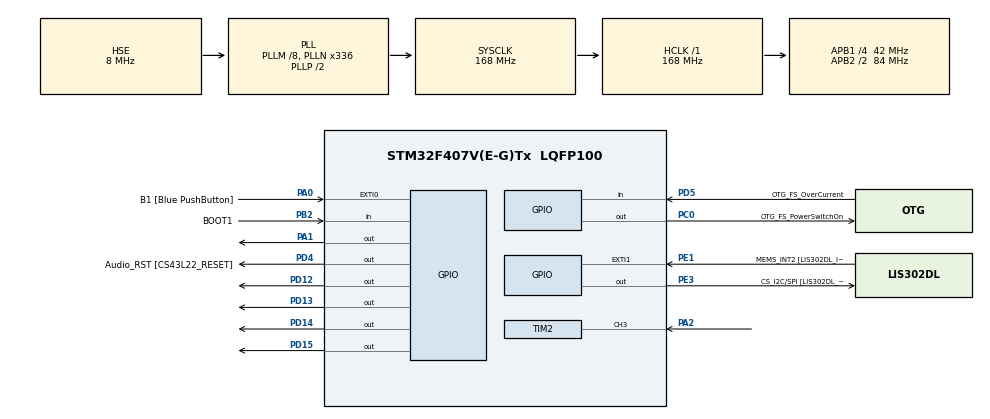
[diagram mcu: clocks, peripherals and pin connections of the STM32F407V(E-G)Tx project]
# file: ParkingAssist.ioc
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Mcu.Family=STM32F4
Mcu.Name=STM32F407V(E-G)Tx
Mcu.Package=LQFP100
NVIC.PriorityGroup=NVIC_PRIORITYGROUP_0
NVIC.TIM2_IRQn=true\:0\:0\:false\:false\:true\:true\:true\:true
PA0-WKUP.GPIO_Label=B1 [Blue PushButton]
PA0-WKUP.Signal=GPXTI0
PA1.Signal=GPIO_Output
PA10.GPIO_Label=OTG_FS_ID
PA10.GPIO_Mode=GPIO_MODE_AF_PP
PA10.GPIO_PuPd=GPIO_NOPULL
PA10.GPIO_Speed=GPIO_SPEED_FREQ_LOW
PA10.Signal=USB_OTG_FS_ID
PA11.GPIO_Label=OTG_FS_DM
PA11.GPIO_Mode=GPIO_MODE_AF_PP
PA11.GPIO_PuPd=GPIO_NOPULL
PA11.GPIO_Speed=GPIO_SPEED_FREQ_LOW
PA11.Signal=USB_OTG_FS_DM
PA12.GPIO_Label=OTG_FS_DP
PA12.GPIO_Mode=GPIO_MODE_AF_PP
PA12.GPIO_PuPd=GPIO_NOPULL
PA12.GPIO_Speed=GPIO_SPEED_FREQ_LOW
PA12.Signal=USB_OTG_FS_DP
PA13.GPIO_Label=SWDIO
PA13.Signal=SYS_JTMS-SWDIO
PA14.GPIO_Label=SWCLK
PA14.Signal=SYS_JTCK-SWCLK
PA2.Signal=S_TIM2_CH3
PA4.GPIO_Label=I2S3_WS [CS43L22_LRCK]
PA4.GPIO_Mode=GPIO_MODE_AF_PP
PA4.GPIO_PuPd=GPIO_NOPULL
PA4.GPIO_Speed=GPIO_SPEED_FREQ_LOW
PA4.Signal=I2S3_WS
PA5.GPIO_Label=SPI1_SCK [LIS302DL_SCL/SPC]
PA5.GPIO_Mode=GPIO_MODE_AF_PP
PA5.GPIO_PuPd=GPIO_NOPULL
PA5.GPIO_Speed=GPIO_SPEED_FREQ_LOW
PA5.Signal=SPI1_SCK
PA6.GPIO_Label=SPI1_MISO [LIS302DL_SDO]
PA6.GPIO_Mode=GPIO_MODE_AF_PP
PA6.GPIO_PuPd=GPIO_NOPULL
PA6.GPIO_Speed=GPIO_SPEED_FREQ_LOW
PA6.Signal=SPI1_MISO
PA7.GPIO_Label=SPI1_MOSI [LIS302DL_SDA/SDI/SDO]
PA7.GPIO_Mode=GPIO_MODE_AF_PP
PA7.GPIO_PuPd=GPIO_NOPULL
PA7.GPIO_Speed=GPIO_SPEED_FREQ_LOW
PA7.Signal=SPI1_MOSI
PA9.GPIO_Label=VBUS_FS
PA9.GPIO_Mode=GPIO_MODE_INPUT
PA9.GPIO_PuPd=GPIO_NOPULL
PA9.Signal=USB_OTG_FS_VBUS
PB10.GPIO_Label=CLK_IN [MP45DT02_CLK]
PB10.GPIO_Mode=GPIO_MODE_AF_PP
PB10.GPIO_PuPd=GPIO_NOPULL
PB10.GPIO_Speed=GPIO_SPEED_FREQ_LOW
PB10.Signal=I2S2_CK
PB2.GPIO_Label=BOOT1
PB2.GPIO_Mode=GPIO_MODE_INPUT
PB2.GPIO_PuPd=GPIO_NOPULL
PB2.Signal=GPIO_Input
PB3.Signal=SYS_JTDO-SWO
PB6.GPIO_Label=Audio_SCL [CS43L22_SCL]
PB6.GPIO_Mode=GPIO_MODE_AF_OD
PB6.GPIO_PuPd=GPIO_NOPULL
PB6.GPIO_Speed=GPIO_SPEED_FREQ_LOW
PB6.Signal=I2C1_SCL
PB9.GPIO_Label=Audio_SDA [CS43L22_SDA]
PB9.GPIO_Mode=GPIO_MODE_AF_OD
PB9.GPIO_PuPd=GPIO_NOPULL
PB9.GPIO_Speed=GPIO_SPEED_FREQ_LOW
PB9.Signal=I2C1_SDA
PC0.GPIO_Label=OTG_FS_PowerSwitchOn
PC0.GPIO_PuPd=GPIO_NOPULL
PC0.GPIO_Speed=GPIO_SPEED_FREQ_LOW
PC0.PinState=GPIO_PIN_SET
PC0.Signal=GPIO_Output
PC10.GPIO_Label=I2S3_SCK [CS43L22_SCLK]
PC10.GPIO_Mode=GPIO_MODE_AF_PP
PC10.GPIO_PuPd=GPIO_NOPULL
PC10.GPIO_Speed=GPIO_SPEED_FREQ_LOW
PC10.Signal=I2S3_CK
PC12.GPIO_Label=I2S3_SD [CS43L22_SDIN]
PC12.GPIO_Mode=GPIO_MODE_AF_PP
PC12.GPIO_PuPd=GPIO_NOPULL
PC12.GPIO_Speed=GPIO_SPEED_FREQ_LOW
PC12.Signal=I2S3_SD
PC14-OSC32_IN.GPIO_Label=PC14-OSC32_IN
PC14-OSC32_IN.Signal=RCC_OSC32_IN
PC15-OSC32_OUT.GPIO_Label=PC15-OSC32_OUT
PC15-OSC32_OUT.Signal=RCC_OSC32_OUT
PC3.GPIO_Label=PDM_OUT [MP45DT02_DOUT]
PC3.GPIO_Mode=GPIO_MODE_AF_PP
PC3.GPIO_PuPd=GPIO_NOPULL
PC3.GPIO_Speed=GPIO_SPEED_FREQ_LOW
PC3.Signal=I2S2_SD
PC7.GPIO_Label=I2S3_MCK [CS43L22_MCLK]
PC7.GPIO_Mode=GPIO_MODE_AF_PP
PC7.GPIO_PuPd=GPIO_NOPULL
PC7.GPIO_Speed=GPIO_SPEED_FREQ_LOW
PC7.Signal=I2S3_MCK
PD12.Signal=GPIO_Output
PD13.Signal=GPIO_Output
PD14.Signal=GPIO_Output
PD15.Signal=GPIO_Output
PD4.GPIO_Label=Audio_RST [CS43L22_RESET]
PD4.GPIO_PuPd=GPIO_NOPULL
PD4.GPIO_Speed=GPIO_SPEED_FREQ_LOW
PD4.Signal=GPIO_Output
PD5.GPIO_Label=OTG_FS_OverCurrent
PD5.GPIO_Mode=GPIO_MODE_INPUT
PD5.GPIO_PuPd=GPIO_NOPULL
PD5.Signal=GPIO_Input
PE1.GPIO_Label=MEMS_INT2 [LIS302DL_INT2]
PE1.GPIO_ModeDefaultEXTI=GPIO_MODE_EVT_RISING
PE1.GPIO_PuPd=GPIO_NOPULL
PE1.Signal=GPXTI1
PE3.GPIO_Label=CS_I2C/SPI [LIS302DL_CS_I2C/SPI]
PE3.GPIO_PuPd=GPIO_NOPULL
PE3.GPIO_Speed=GPIO_SPEED_FREQ_LOW
PE3.Signal=GPIO_Output
PH0-OSC_IN.GPIO_Label=PH0-OSC_IN
PH0-OSC_IN.Mode=HSE-External-Oscillator
PH0-OSC_IN.Signal=RCC_OSC_IN
PH1-OSC_OUT.GPIO_Label=PH1-OSC_OUT
PH1-OSC_OUT.Mode=HSE-External-Oscillator
PH1-OSC_OUT.Signal=RCC_OSC_OUT
ProjectManager.HeapSize=0x200
ProjectManager.StackSize=0x400
ProjectManager.TargetToolchain=STM32CubeIDE
RCC.48MHZClocksFreq_Value=48000000
RCC.AHBFreq_Value=168000000
RCC.APB1CLKDivider=RCC_HCLK_DIV4
RCC.APB1Freq_Value=42000000
RCC.APB1TimFreq_Value=84000000
RCC.APB2CLKDivider=RCC_HCLK_DIV2
RCC.APB2Freq_Value=84000000
RCC.APB2TimFreq_Value=168000000
RCC.CortexFreq_Value=168000000
RCC.HCLKFreq_Value=168000000
RCC.HSE_VALUE=8000000
RCC.HSI_VALUE=16000000
RCC.LSE_VALUE=32768
RCC.PLLM=8
RCC.PLLN=336
RCC.PLLQ=7
RCC.PLLSourceVirtual=RCC_PLLSOURCE_HSE
RCC.SYSCLKFreq_VALUE=168000000
RCC.SYSCLKSource=RCC_SYSCLKSOURCE_PLLCLK
RCC.VCOOutputFreq_Value=336000000
SH.S_TIM2_CH3.0=TIM2_CH3,Input_Capture3_from_TI3
TIM2.Channel-Input_Capture3_from_TI3=TIM_CHANNEL_3
TIM2.ICPolarity_CH3=TIM_INPUTCHANNELPOLARITY_BOTHEDGE
TIM2.Period=0xFFFFFFFF
TIM2.Prescaler=83
VP_TIM2_VS_ClockSourceINT.Mode=Internal
board=STM32F407G-DISC1

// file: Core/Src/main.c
/* USER CODE BEGIN Header */
/**
 ******************************************************************************
 * @file           : main.c
 * @brief          : Main program body
 ******************************************************************************
 * @attention
 *
 * Copyright (c) 2026 STMicroelectronics.
 * All rights reserved.
 *
 * This software is licensed under terms that can be found in the LICENSE file
 * in the root directory of this software component.
 * If no LICENSE file comes with this software, it is provided AS-IS.
 *
 ******************************************************************************
 */
/* USER CODE END Header */
#include "main.h"

/* USER CODE BEGIN Includes */
#include<stdio.h>
/* USER CODE END Includes */

/* USER CODE BEGIN PTD */

typedef enum{
	STATE_SAFE,
	STATE_WARNING,
	STATE_DANGER,
	STATE_CRITICAL,
	STATE_SENSOR_ERROR
}ParkState;
/* USER CODE END PTD */

/* USER CODE BEGIN PD */
#define CONFIRM_LIMIT 3

#define BLINK_WARNING_MS         (400U)
#define BLINK_DANGER_MS          (200U)
#define BLINK_CRITICAL_MS        (100U)

#define PRINT_INTERVAL_MS        (500U)

/* --- Parking zones (desk-test values) --- */
#define PARK_CRITICAL_LIMIT_CM   (10U)
#define PARK_DANGER_LIMIT_CM     (20U)
#define PARK_WARNING_LIMIT_CM    (30U)

/* --- HC-SR04 timing --- */
#define TRIG_PULSE_US            (11U)     /* datasheet: at least 10 us */
#define ECHO_START_TIMEOUT_US    (30000U)  /* wait for echo to rise     */
#define ECHO_END_TIMEOUT_US      (40000U)  /* max echo length           */
#define ECHO_US_PER_CM           (58U)     /* round trip at ~343 m/s    */

#define LED_ALL_PINS             (GPIO_PIN_12 | GPIO_PIN_13 | GPIO_PIN_14 | GPIO_PIN_15)

/* --- Main loop --- */
#define LOOP_DELAY_MS            (60U)

#define ECHO_MIN_US              (100U)

/* USER CODE END PD */

TIM_HandleTypeDef htim2;

void SystemClock_Config(void);
static void MX_GPIO_Init(void);
static void MX_TIM2_Init(void);

/* USER CODE BEGIN 0 */

uint32_t distance_cm;

ParkState state = STATE_SAFE;
ParkState new_state;
ParkState last_state = STATE_SAFE;

const char *state_names[] = {"SAFE", "WARNING", "DANGER", "CRITICAL", "SENSOR_ERROR"};

volatile uint32_t ic_rise;
volatile uint32_t ic_width;
volatile uint8_t ic_ready;;

void delay_us(uint32_t us) {
	uint32_t start = __HAL_TIM_GET_COUNTER(&htim2);
	while ( __HAL_TIM_GET_COUNTER(&htim2) - start < us) {

	}

}

uint32_t measure_distance(void)
{
	uint32_t dist = 0;
	uint32_t width;

	if(ic_ready)
	{
		width = ic_width;
		ic_ready = 0;

		if(width >= ECHO_MIN_US)
		{
			dist = width / ECHO_US_PER_CM;
		}
	}
	HAL_GPIO_WritePin(GPIOA, GPIO_PIN_1, GPIO_PIN_RESET);

	HAL_GPIO_WritePin(GPIOA, GPIO_PIN_1, GPIO_PIN_SET);

	delay_us(TRIG_PULSE_US);

	HAL_GPIO_WritePin(GPIOA, GPIO_PIN_1, GPIO_PIN_RESET);

	return dist;

}

	ParkState distance_to_state(uint32_t dist_cm){
		if (dist_cm == 0) {
					return STATE_SENSOR_ERROR;
				} else if (dist_cm < PARK_CRITICAL_LIMIT_CM) {
					return STATE_CRITICAL;

				} else if (dist_cm < PARK_DANGER_LIMIT_CM) {
					return STATE_DANGER;
				} else if (dist_cm < PARK_WARNING_LIMIT_CM) {
					return STATE_WARNING;
				} else {
					return STATE_SAFE;

				}
		}

	ParkState filter_state(ParkState raw_state)
	{
		static ParkState stable = STATE_SAFE;
		static ParkState candidate= STATE_SAFE;
		static uint8_t count = 0;

		if (raw_state == stable) {
			count = 0;
		} else if (raw_state == candidate) {
			count++;
			if (count >= CONFIRM_LIMIT) {
				stable = raw_state;
				count = 0;
			}
		} else {
			candidate = raw_state;
			count = 1;
		}
		return stable;
	}

	uint32_t blink_interval_ms(ParkState park_state)
	{
	    /* TODO: switch on park_state
	       WARNING -> return BLINK_WARNING_MS;
	       DANGER  -> return BLINK_DANGER_MS;
	       default -> return 0;      (0 means steady, no blinking) */
		switch(park_state)
		{
		case STATE_WARNING:
			return BLINK_WARNING_MS;
			break;

		case STATE_DANGER:
			return BLINK_DANGER_MS;
			break;

		case STATE_CRITICAL:
			return BLINK_CRITICAL_MS;
			break;

		default:
			return 0;
			break;
		}
	}

	void update_leds(ParkState park_state)
	{
		static uint32_t last_toggle_ms = 0;
		static uint8_t blink_on =1;
		uint32_t now = HAL_GetTick();
		uint32_t interval = blink_interval_ms(park_state);

		if (interval == 0)
		{
			blink_on =1;
		}
		else if (now - last_toggle_ms >= interval)
		{
			blink_on = !blink_on;
					last_toggle_ms = now;
		}

		HAL_GPIO_WritePin(GPIOD, LED_ALL_PINS, GPIO_PIN_RESET);

		if(blink_on)
		{
		switch (park_state) {
		case STATE_SAFE:
			HAL_GPIO_WritePin(GPIOD, GPIO_PIN_12, GPIO_PIN_SET);
			break;

		case STATE_WARNING:
			HAL_GPIO_WritePin(GPIOD, GPIO_PIN_13, GPIO_PIN_SET);
			break;

		case STATE_DANGER:
			HAL_GPIO_WritePin(GPIOD, GPIO_PIN_14, GPIO_PIN_SET);
			break;

		case STATE_CRITICAL:
			HAL_GPIO_WritePin(GPIOD, GPIO_PIN_15, GPIO_PIN_SET);
			break;

		case STATE_SENSOR_ERROR:
			HAL_GPIO_WritePin(GPIOD, LED_ALL_PINS, GPIO_PIN_SET);
			break;
		}
	}
	}

	void print_status(ParkState park_state, uint32_t dist_cm)
	{
		static ParkState last_printed = STATE_SAFE;
		static uint32_t last_print_ms = 0;
		uint32_t now = HAL_GetTick();

		if(park_state != last_printed || now - last_print_ms >= PRINT_INTERVAL_MS){
				printf("State: %s, distance: %lu cm\r\n", state_names[park_state], dist_cm);

				last_printed = park_state;
				last_print_ms = now;
				}
	}

/* USER CODE END 0 */

int main(void)
{

  /* MCU Configuration--------------------------------------------------------*/

  /* Reset of all peripherals, Initializes the Flash interface and the Systick. */
  HAL_Init();

  /* Configure the system clock */
  SystemClock_Config();

  /* Initialize all configured peripherals */
  MX_GPIO_Init();
  MX_TIM2_Init();
  /* USER CODE BEGIN 2 */

	HAL_TIM_Base_Start(&htim2);

	HAL_TIM_IC_Start_IT(&htim2, TIM_CHANNEL_3);

	printf("Parking sensor started\r\n");
  /* USER CODE END 2 */

  /* Infinite loop */
	while (1) {

    /* USER CODE BEGIN 3 */

		distance_cm = measure_distance();
		new_state = distance_to_state(distance_cm);
		state = filter_state(new_state);
		update_leds(state);
		print_status(state, distance_cm);

		HAL_Delay(LOOP_DELAY_MS);  //delay_us(60000);
	}

  /* USER CODE END 3 */
}

void SystemClock_Config(void)
{
  RCC_OscInitTypeDef RCC_OscInitStruct = {0};
  RCC_ClkInitTypeDef RCC_ClkInitStruct = {0};

  /** Configure the main internal regulator output voltage
  */
  __HAL_RCC_PWR_CLK_ENABLE();
  __HAL_PWR_VOLTAGESCALING_CONFIG(PWR_REGULATOR_VOLTAGE_SCALE1);

  /** Initializes the RCC Oscillators according to the specified parameters
  * in the RCC_OscInitTypeDef structure.
  */
  RCC_OscInitStruct.OscillatorType = RCC_OSCILLATORTYPE_HSE;
  RCC_OscInitStruct.HSEState = RCC_HSE_ON;
  RCC_OscInitStruct.PLL.PLLState = RCC_PLL_ON;
  RCC_OscInitStruct.PLL.PLLSource = RCC_PLLSOURCE_HSE;
  RCC_OscInitStruct.PLL.PLLM = 8;
  RCC_OscInitStruct.PLL.PLLN = 336;
  RCC_OscInitStruct.PLL.PLLP = RCC_PLLP_DIV2;
  RCC_OscInitStruct.PLL.PLLQ = 7;
  if (HAL_RCC_OscConfig(&RCC_OscInitStruct) != HAL_OK)
  {
    Error_Handler();
  }

  /** Initializes the CPU, AHB and APB buses clocks
  */
  RCC_ClkInitStruct.ClockType = RCC_CLOCKTYPE_HCLK|RCC_CLOCKTYPE_SYSCLK
                              |RCC_CLOCKTYPE_PCLK1|RCC_CLOCKTYPE_PCLK2;
  RCC_ClkInitStruct.SYSCLKSource = RCC_SYSCLKSOURCE_PLLCLK;
  RCC_ClkInitStruct.AHBCLKDivider = RCC_SYSCLK_DIV1;
  RCC_ClkInitStruct.APB1CLKDivider = RCC_HCLK_DIV4;
  RCC_ClkInitStruct.APB2CLKDivider = RCC_HCLK_DIV2;

  if (HAL_RCC_ClockConfig(&RCC_ClkInitStruct, FLASH_LATENCY_5) != HAL_OK)
  {
    Error_Handler();
  }
}

static void MX_TIM2_Init(void)
{

  TIM_ClockConfigTypeDef sClockSourceConfig = {0};
  TIM_MasterConfigTypeDef sMasterConfig = {0};
  TIM_IC_InitTypeDef sConfigIC = {0};

  htim2.Instance = TIM2;
  htim2.Init.Prescaler = 83;
  htim2.Init.CounterMode = TIM_COUNTERMODE_UP;
  htim2.Init.Period = 0xFFFFFFFF;
  htim2.Init.ClockDivision = TIM_CLOCKDIVISION_DIV1;
  htim2.Init.AutoReloadPreload = TIM_AUTORELOAD_PRELOAD_DISABLE;
  if (HAL_TIM_Base_Init(&htim2) != HAL_OK)
  {
    Error_Handler();
  }
  sClockSourceConfig.ClockSource = TIM_CLOCKSOURCE_INTERNAL;
  if (HAL_TIM_ConfigClockSource(&htim2, &sClockSourceConfig) != HAL_OK)
  {
    Error_Handler();
  }
  if (HAL_TIM_IC_Init(&htim2) != HAL_OK)
  {
    Error_Handler();
  }
  sMasterConfig.MasterOutputTrigger = TIM_TRGO_RESET;
  sMasterConfig.MasterSlaveMode = TIM_MASTERSLAVEMODE_DISABLE;
  if (HAL_TIMEx_MasterConfigSynchronization(&htim2, &sMasterConfig) != HAL_OK)
  {
    Error_Handler();
  }
  sConfigIC.ICPolarity = TIM_INPUTCHANNELPOLARITY_BOTHEDGE;
  sConfigIC.ICSelection = TIM_ICSELECTION_DIRECTTI;
  sConfigIC.ICPrescaler = TIM_ICPSC_DIV1;
  sConfigIC.ICFilter = 0;
  if (HAL_TIM_IC_ConfigChannel(&htim2, &sConfigIC, TIM_CHANNEL_3) != HAL_OK)
  {
    Error_Handler();
  }

}

static void MX_GPIO_Init(void)
{
  GPIO_InitTypeDef GPIO_InitStruct = {0};

  /* GPIO Ports Clock Enable */
  __HAL_RCC_GPIOE_CLK_ENABLE();
  __HAL_RCC_GPIOC_CLK_ENABLE();
  __HAL_RCC_GPIOH_CLK_ENABLE();
  __HAL_RCC_GPIOA_CLK_ENABLE();
  __HAL_RCC_GPIOB_CLK_ENABLE();
  __HAL_RCC_GPIOD_CLK_ENABLE();

  /*Configure GPIO pin Output Level */
  HAL_GPIO_WritePin(CS_I2C_SPI_GPIO_Port, CS_I2C_SPI_Pin, GPIO_PIN_RESET);

  /*Configure GPIO pin Output Level */
  HAL_GPIO_WritePin(OTG_FS_PowerSwitchOn_GPIO_Port, OTG_FS_PowerSwitchOn_Pin, GPIO_PIN_SET);

  /*Configure GPIO pin Output Level */
  HAL_GPIO_WritePin(GPIOA, GPIO_PIN_1, GPIO_PIN_RESET);

  /*Configure GPIO pin Output Level */
  HAL_GPIO_WritePin(GPIOD, GPIO_PIN_12|GPIO_PIN_13|GPIO_PIN_14|GPIO_PIN_15
                          |Audio_RST_Pin, GPIO_PIN_RESET);

  /*Configure GPIO pin : CS_I2C_SPI_Pin */
  GPIO_InitStruct.Pin = CS_I2C_SPI_Pin;
  GPIO_InitStruct.Mode = GPIO_MODE_OUTPUT_PP;
  GPIO_InitStruct.Pull = GPIO_NOPULL;
  GPIO_InitStruct.Speed = GPIO_SPEED_FREQ_LOW;
  HAL_GPIO_Init(CS_I2C_SPI_GPIO_Port, &GPIO_InitStruct);

  /*Configure GPIO pin : OTG_FS_PowerSwitchOn_Pin */
  GPIO_InitStruct.Pin = OTG_FS_PowerSwitchOn_Pin;
  GPIO_InitStruct.Mode = GPIO_MODE_OUTPUT_PP;
  GPIO_InitStruct.Pull = GPIO_NOPULL;
  GPIO_InitStruct.Speed = GPIO_SPEED_FREQ_LOW;
  HAL_GPIO_Init(OTG_FS_PowerSwitchOn_GPIO_Port, &GPIO_InitStruct);

  /*Configure GPIO pin : PDM_OUT_Pin */
  GPIO_InitStruct.Pin = PDM_OUT_Pin;
  GPIO_InitStruct.Mode = GPIO_MODE_AF_PP;
  GPIO_InitStruct.Pull = GPIO_NOPULL;
  GPIO_InitStruct.Speed = GPIO_SPEED_FREQ_LOW;
  GPIO_InitStruct.Alternate = GPIO_AF5_SPI2;
  HAL_GPIO_Init(PDM_OUT_GPIO_Port, &GPIO_InitStruct);

  /*Configure GPIO pin : B1_Pin */
  GPIO_InitStruct.Pin = B1_Pin;
  GPIO_InitStruct.Mode = GPIO_MODE_IT_RISING;
  GPIO_InitStruct.Pull = GPIO_NOPULL;
  HAL_GPIO_Init(B1_GPIO_Port, &GPIO_InitStruct);

  /*Configure GPIO pin : PA1 */
  GPIO_InitStruct.Pin = GPIO_PIN_1;
  GPIO_InitStruct.Mode = GPIO_MODE_OUTPUT_PP;
  GPIO_InitStruct.Pull = GPIO_NOPULL;
  GPIO_InitStruct.Speed = GPIO_SPEED_FREQ_LOW;
  HAL_GPIO_Init(GPIOA, &GPIO_InitStruct);

  /*Configure GPIO pin : I2S3_WS_Pin */
  GPIO_InitStruct.Pin = I2S3_WS_Pin;
  GPIO_InitStruct.Mode = GPIO_MODE_AF_PP;
  GPIO_InitStruct.Pull = GPIO_NOPULL;
  GPIO_InitStruct.Speed = GPIO_SPEED_FREQ_LOW;
  GPIO_InitStruct.Alternate = GPIO_AF6_SPI3;
  HAL_GPIO_Init(I2S3_WS_GPIO_Port, &GPIO_InitStruct);

  /*Configure GPIO pins : SPI1_SCK_Pin SPI1_MISO_Pin SPI1_MOSI_Pin */
  GPIO_InitStruct.Pin = SPI1_SCK_Pin|SPI1_MISO_Pin|SPI1_MOSI_Pin;
  GPIO_InitStruct.Mode = GPIO_MODE_AF_PP;
  GPIO_InitStruct.Pull = GPIO_NOPULL;
  GPIO_InitStruct.Speed = GPIO_SPEED_FREQ_LOW;
  GPIO_InitStruct.Alternate = GPIO_AF5_SPI1;
  HAL_GPIO_Init(GPIOA, &GPIO_InitStruct);

  /*Configure GPIO pin : BOOT1_Pin */
  GPIO_InitStruct.Pin = BOOT1_Pin;
  GPIO_InitStruct.Mode = GPIO_MODE_INPUT;
  GPIO_InitStruct.Pull = GPIO_NOPULL;
  HAL_GPIO_Init(BOOT1_GPIO_Port, &GPIO_InitStruct);

  /*Configure GPIO pin : CLK_IN_Pin */
  GPIO_InitStruct.Pin = CLK_IN_Pin;
  GPIO_InitStruct.Mode = GPIO_MODE_AF_PP;
  GPIO_InitStruct.Pull = GPIO_NOPULL;
  GPIO_InitStruct.Speed = GPIO_SPEED_FREQ_LOW;
  GPIO_InitStruct.Alternate = GPIO_AF5_SPI2;
  HAL_GPIO_Init(CLK_IN_GPIO_Port, &GPIO_InitStruct);

  /*Configure GPIO pins : PD12 PD13 PD14 PD15
                           Audio_RST_Pin */
  GPIO_InitStruct.Pin = GPIO_PIN_12|GPIO_PIN_13|GPIO_PIN_14|GPIO_PIN_15
                          |Audio_RST_Pin;
  GPIO_InitStruct.Mode = GPIO_MODE_OUTPUT_PP;
  GPIO_InitStruct.Pull = GPIO_NOPULL;
  GPIO_InitStruct.Speed = GPIO_SPEED_FREQ_LOW;
  HAL_GPIO_Init(GPIOD, &GPIO_InitStruct);

  /*Configure GPIO pins : I2S3_MCK_Pin I2S3_SCK_Pin I2S3_SD_Pin */
  GPIO_InitStruct.Pin = I2S3_MCK_Pin|I2S3_SCK_Pin|I2S3_SD_Pin;
  GPIO_InitStruct.Mode = GPIO_MODE_AF_PP;
  GPIO_InitStruct.Pull = GPIO_NOPULL;
  GPIO_InitStruct.Speed = GPIO_SPEED_FREQ_LOW;
  GPIO_InitStruct.Alternate = GPIO_AF6_SPI3;
  HAL_GPIO_Init(GPIOC, &GPIO_InitStruct);

  /*Configure GPIO pin : VBUS_FS_Pin */
  GPIO_InitStruct.Pin = VBUS_FS_Pin;
  GPIO_InitStruct.Mode = GPIO_MODE_INPUT;
  GPIO_InitStruct.Pull = GPIO_NOPULL;
  HAL_GPIO_Init(VBUS_FS_GPIO_Port, &GPIO_InitStruct);

  /*Configure GPIO pins : OTG_FS_ID_Pin OTG_FS_DM_Pin OTG_FS_DP_Pin */
  GPIO_InitStruct.Pin = OTG_FS_ID_Pin|OTG_FS_DM_Pin|OTG_FS_DP_Pin;
  GPIO_InitStruct.Mode = GPIO_MODE_AF_PP;
  GPIO_InitStruct.Pull = GPIO_NOPULL;
  GPIO_InitStruct.Speed = GPIO_SPEED_FREQ_LOW;
  GPIO_InitStruct.Alternate = GPIO_AF10_OTG_FS;
  HAL_GPIO_Init(GPIOA, &GPIO_InitStruct);

  /*Configure GPIO pin : OTG_FS_OverCurrent_Pin */
  GPIO_InitStruct.Pin = OTG_FS_OverCurrent_Pin;
  GPIO_InitStruct.Mode = GPIO_MODE_INPUT;
  GPIO_InitStruct.Pull = GPIO_NOPULL;
  HAL_GPIO_Init(OTG_FS_OverCurrent_GPIO_Port, &GPIO_InitStruct);

  /*Configure GPIO pins : Audio_SCL_Pin Audio_SDA_Pin */
  GPIO_InitStruct.Pin = Audio_SCL_Pin|Audio_SDA_Pin;
  GPIO_InitStruct.Mode = GPIO_MODE_AF_OD;
  GPIO_InitStruct.Pull = GPIO_NOPULL;
  GPIO_InitStruct.Speed = GPIO_SPEED_FREQ_LOW;
  GPIO_InitStruct.Alternate = GPIO_AF4_I2C1;
  HAL_GPIO_Init(GPIOB, &GPIO_InitStruct);

  /*Configure GPIO pin : MEMS_INT2_Pin */
  GPIO_InitStruct.Pin = MEMS_INT2_Pin;
  GPIO_InitStruct.Mode = GPIO_MODE_EVT_RISING;
  GPIO_InitStruct.Pull = GPIO_NOPULL;
  HAL_GPIO_Init(MEMS_INT2_GPIO_Port, &GPIO_InitStruct);

}

/* USER CODE BEGIN 4 */

void HAL_TIM_IC_CaptureCallback(TIM_HandleTypeDef *htim)
{
	if((htim->Instance ==TIM2)  && (htim->Channel == HAL_TIM_ACTIVE_CHANNEL_3))
	{
		uint32_t value = HAL_TIM_ReadCapturedValue(htim, TIM_CHANNEL_3);

	if(HAL_GPIO_ReadPin(GPIOA, GPIO_PIN_2) == GPIO_PIN_SET)
	{
		ic_rise = value;
	}
	else
	{
		ic_width = value - ic_rise;
		ic_ready = 1;
	}
}
}

/* USER CODE END 4 */

void Error_Handler(void)
{
	__disable_irq();
	while (1) {
	}
}
